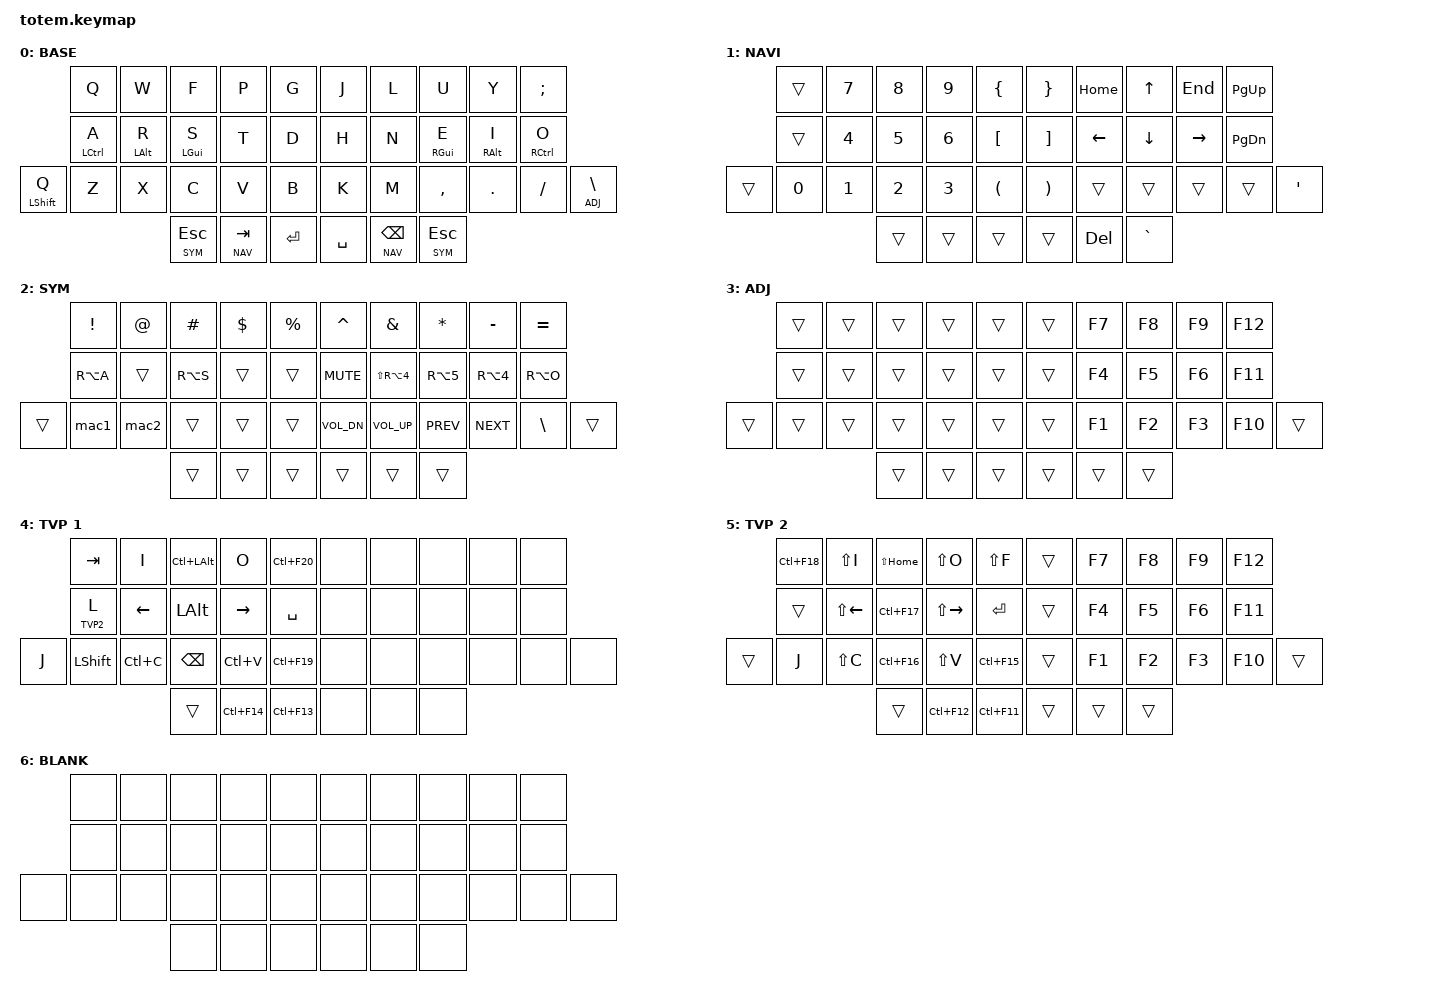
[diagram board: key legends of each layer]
//
//                                                        ▀▀▀▀▀     ▀▀▀▀▀          ▀▀█▀▀
//                                                        ▄▀▀▀▄  ▄  ▄▀▀▀▄  ▄  ▄▀▀▀▄  █  ▄▀▀▀▄
//                                                        █   █  █  █   █  █  █   █  █  █   █
//                                                         ▀▀▀   █   ▀▀▀   █   ▀▀▀   ▀   ▀▀▀
//                                                               █      ▄▄▄█▄▄▄    █   █  
//                                                               ▀      █  █  █     █▄█
//                                                             ▀▀▀▀▀    █  █  █      ▀
//                                                                      ▀  ▀  ▀
//
// ▄▄▄▄▄▄▄▄▄▄▄▄▄▄▄▄▄▄▄▄▄▄▄▄▄▄▄▄▄▄▄▄▄▄▄▄▄▄▄▄▄▄▄▄▄▄▄▄▄▄▄▄▄▄▄▄▄▄▄▄▄▄▄▄▄▄▄▄▄▄▄▄▄▄▄▄▄▄▄▄▄▄▄▄▄▄▄▄▄▄▄▄▄▄▄▄▄▄▄▄▄▄▄▄▄▄▄▄▄▄▄▄▄▄▄▄▄▄▄▄▄▄▄▄▄▄▄▄▄▄▄▄▄▄▄▄▄▄▄▄▄▄▄▄▄▄▄▄▄
       

#include <behaviors.dtsi>
#include <dt-bindings/zmk/keys.h>
#include <dt-bindings/zmk/bt.h>
#include <dt-bindings/zmk/outputs.h>

#define BASE 0
#define NAV  1
#define SYM  2
#define ADJ  3
#define TVP1 4
#define TVP2 5

&mt {
  quick-tap-ms = <100>;
  global-quick-tap;
  flavor = "tap-preferred";
  tapping-term-ms = <220>;
};

/ {
     combos {
            compatible = "zmk,combos";
            combo_esc {
                timeout-ms = <50>;
                key-positions = <0 1>;
                bindings = <&kp ESC>;
            };
            combo_tvp {
                timeout-ms = <100>;
                key-positions = <11 12 13>;
                bindings = <&tog TVP1>;
            };
    };

    macros {
        mac1: mac1 {
            label = "mac1";
            compatible = "zmk,behavior-macro";
            #binding-cells = <0>;
            bindings
                = <&macro_tap &kp L &kp E &kp A &kp N &kp G &kp H &kp O &kp U &kp N &kp AT &kp G &kp M &kp A &kp I &kp L &kp DOT &kp C &kp O &kp M>
                ;
        }; mac2: mac2 {
            label = "mac2";
            compatible = "zmk,behavior-macro";
            #binding-cells = <0>;
            bindings
                = <&macro_tap &kp H &kp A &kp N &kp N &kp A &kp H &kp LPAR &kp N2 &kp N8 &kp RPAR>
                , <&macro_press &kp LSHFT>
                , <&macro_tap &kp M>
                , <&macro_release &kp LSHFT>
                , <&macro_tap &kp A &kp Y>
                ;
        };
    };

        keymap {
                compatible = "zmk,keymap";
// ▄▄▄▄▄▄▄▄▄▄▄▄▄▄▄▄▄▄▄▄▄▄▄▄▄▄▄▄▄▄▄▄▄▄▄▄▄▄▄▄▄▄▄▄▄▄▄▄▄▄▄▄▄▄▄▄▄▄▄▄▄▄▄▄▄▄▄▄▄▄▄▄▄▄▄▄▄▄▄▄▄▄▄▄▄▄▄▄▄▄▄▄▄▄▄▄▄▄▄▄▄▄▄▄▄▄▄▄▄▄▄▄▄▄▄▄▄▄▄▄▄▄▄▄▄▄▄▄▄▄▄▄▄▄▄▄▄▄▄▄▄▄▄▄▄▄▄▄▄

                base_layer {
// ┏━━━━━━━━━━━━━━━━━━━━━━━━━━━━━━━━━━━━━━━┓
label= "BASE"                              ;
// ┗━━━━━━━━━━━━━━━━━━━━━━━━━━━━━━━━━━━━━━━┛
//             ┏━━━━━━━━━━━┳━━━━━━━━━━━┳━━━━━━━━━━━┳━━━━━━━━━━━┳━━━━━━━━━━━┓   ┏━━━━━━━━━━━┳━━━━━━━━━━━┳━━━━━━━━━━━┳━━━━━━━━━━━┳━━━━━━━━━━━┓
//             ┃     Q     ┃     W     ┃     F     ┃     P     ┃     G     ┃   ┃     J     ┃     L     ┃     U     ┃     Y     ┃     ;     ┃
//             ┣━━━━━━━━━━━╋━━━━━━━━━━━╋━━━━━━━━━━━╋━━━━━━━━━━━╋━━━━━━━━━━━┫   ┣━━━━━━━━━━━╋━━━━━━━━━━━╋━━━━━━━━━━━╋━━━━━━━━━━━╋━━━━━━━━━━━┫
//             ┃     A     ┃     R     ┃     S     ┃     T     ┃     D     ┃   ┃     H     ┃     N     ┃     E     ┃     I     ┃     O     ┃
// ┏━━━━━━━━━━━╋━━━━━━━━━━━╋━━━━━━━━━━━╋━━━━━━━━━━━╋━━━━━━━━━━━╋━━━━━━━━━━━┫   ┣━━━━━━━━━━━╋━━━━━━━━━━━╋━━━━━━━━━━━╋━━━━━━━━━━━╋━━━━━━━━━━━╋━━━━━━━━━━━┓
// ┃     Q     ┃     Z     ┃     X     ┃     C     ┃     V     ┃     B     ┃   ┃     K     ┃     M     ┃     ,     ┃     .     ┃     /     ┃     \     ┃
// ┗━━━━━━━━━━━┻━━━━━━━━━━━┻━━━━━━━━━━━╋━━━━━━━━━━━╋━━━━━━━━━━━╋━━━━━━━━━━━┫   ┣━━━━━━━━━━━╋━━━━━━━━━━━╋━━━━━━━━━━━╋━━━━━━━━━━━┻━━━━━━━━━━━┻━━━━━━━━━━━┛
//                                     ┃    ESC    ┃    TAB    ┃    ENT    ┃   ┃    SPC    ┃    BSPC   ┃    ESC    ┃
//                                     ┗━━━━━━━━━━━┻━━━━━━━━━━━┻━━━━━━━━━━━┛   ┗━━━━━━━━━━━┻━━━━━━━━━━━┻━━━━━━━━━━━┛
 bindings = <
// ╷           ╷           ╷           ╷           ╷           ╷           ╷   ╷           ╷           ╷           ╷           ╷           ╷           ╷

                &kp Q       &kp W       &kp F       &kp P       &kp G           &kp J       &kp L       &kp U       &kp Y       &kp SEMI
                &mt LCTRL A &mt LALT R  &mt LGUI S  &kp T       &kp D           &kp H       &kp N       &mt RGUI E  &mt RALT I  &mt RCTRL O
    &mt LSHFT Q &kp Z       &kp X       &kp C       &kp V       &kp B           &kp K       &kp M       &kp COMMA   &kp DOT     &kp FSLH    &lt ADJ BSLH
                                        &lt SYM ESC &lt NAV TAB &kp RET         &kp SPACE   &lt NAV BSPC &lt SYM ESC 
                        >;
                };

// ▄▄▄▄▄▄▄▄▄▄▄▄▄▄▄▄▄▄▄▄▄▄▄▄▄▄▄▄▄▄▄▄▄▄▄▄▄▄▄▄▄▄▄▄▄▄▄▄▄▄▄▄▄▄▄▄▄▄▄▄▄▄▄▄▄▄▄▄▄▄▄▄▄▄▄▄▄▄▄▄▄▄▄▄▄▄▄▄▄▄▄▄▄▄▄▄▄▄▄▄▄▄▄▄▄▄▄▄▄▄▄▄▄▄▄▄▄▄▄▄▄▄▄▄▄▄▄▄▄▄▄▄▄▄▄▄▄▄▄▄▄▄▄▄▄▄▄▄▄


                nav_layer {
// ┏━━━━━━━━━━━━━━━━━━━━━━━━━━━━━━━━━━━━━━━┓
label= "NAVI"                              ;
// ┗━━━━━━━━━━━━━━━━━━━━━━━━━━━━━━━━━━━━━━━┛
//             ┏━━━━━━━━━━━┳━━━━━━━━━━━┳━━━━━━━━━━━┳━━━━━━━━━━━┳━━━━━━━━━━━┓   ┏━━━━━━━━━━━┳━━━━━━━━━━━┳━━━━━━━━━━━┳━━━━━━━━━━━┳━━━━━━━━━━━┓
//             ┃           ┃     7     ┃     8     ┃     9     ┃     {     ┃   ┃     }     ┃   HOME    ┃    UP     ┃    END    ┃   PG UP   ┃
//             ┣━━━━━━━━━━━╋━━━━━━━━━━━╋━━━━━━━━━━━╋━━━━━━━━━━━╋━━━━━━━━━━━┫   ┣━━━━━━━━━━━╋━━━━━━━━━━━╋━━━━━━━━━━━╋━━━━━━━━━━━╋━━━━━━━━━━━┫
//             ┃           ┃     4     ┃     5     ┃     6     ┃     [     ┃   ┃     ]     ┃   LEFT    ┃    DOWN   ┃   RIGHT   ┃   PG DN   ┃
// ┏━━━━━━━━━━━╋━━━━━━━━━━━╋━━━━━━━━━━━╋━━━━━━━━━━━╋━━━━━━━━━━━╋━━━━━━━━━━━┫   ┣━━━━━━━━━━━╋━━━━━━━━━━━╋━━━━━━━━━━━╋━━━━━━━━━━━╋━━━━━━━━━━━╋━━━━━━━━━━━┓
// ┃           ┃     0     ┃     1     ┃     2     ┃     3     ┃     (     ┃   ┃     )     ┃           ┃           ┃           ┃           ┃     '     ┃
// ┗━━━━━━━━━━━┻━━━━━━━━━━━┻━━━━━━━━━━━╋━━━━━━━━━━━╋━━━━━━━━━━━╋━━━━━━━━━━━┫   ┣━━━━━━━━━━━╋━━━━━━━━━━━╋━━━━━━━━━━━╋━━━━━━━━━━━┻━━━━━━━━━━━┻━━━━━━━━━━━┛
//                                     ┃           ┃           ┃           ┃   ┃           ┃    DEL    ┃     `     ┃
//                                     ┗━━━━━━━━━━━┻━━━━━━━━━━━┻━━━━━━━━━━━┛   ┗━━━━━━━━━━━┻━━━━━━━━━━━┻━━━━━━━━━━━┛
 bindings = <
// ╷           ╷           ╷           ╷           ╷           ╷           ╷   ╷           ╷           ╷           ╷           ╷           ╷           ╷

                &trans      &kp N7      &kp N8      &kp N9      &kp LBRC        &kp RBRC    &kp HOME    &kp UP      &kp END     &kp PG_UP
                &trans      &kp N4      &kp N5      &kp N6      &kp LBKT        &kp RBKT    &kp LEFT    &kp DOWN    &kp RIGHT   &kp PG_DN
    &trans      &kp N0      &kp N1      &kp N2      &kp N3      &kp LPAR        &kp RPAR    &trans      &trans      &trans      &trans      &kp SQT      
                                        &trans      &trans      &trans          &trans      &kp DEL     &kp GRAVE      
                        >;
                };

// ▄▄▄▄▄▄▄▄▄▄▄▄▄▄▄▄▄▄▄▄▄▄▄▄▄▄▄▄▄▄▄▄▄▄▄▄▄▄▄▄▄▄▄▄▄▄▄▄▄▄▄▄▄▄▄▄▄▄▄▄▄▄▄▄▄▄▄▄▄▄▄▄▄▄▄▄▄▄▄▄▄▄▄▄▄▄▄▄▄▄▄▄▄▄▄▄▄▄▄▄▄▄▄▄▄▄▄▄▄▄▄▄▄▄▄▄▄▄▄▄▄▄▄▄▄▄▄▄▄▄▄▄▄▄▄▄▄▄▄▄▄▄▄▄▄▄▄▄▄


                sim_layer {
// ┏━━━━━━━━━━━━━━━━━━━━━━━━━━━━━━━━━━━━━━━┓
label= "SYM"                               ;
// ┗━━━━━━━━━━━━━━━━━━━━━━━━━━━━━━━━━━━━━━━┛
//             ┏━━━━━━━━━━━┳━━━━━━━━━━━┳━━━━━━━━━━━┳━━━━━━━━━━━┳━━━━━━━━━━━┓   ┏━━━━━━━━━━━┳━━━━━━━━━━━┳━━━━━━━━━━━┳━━━━━━━━━━━┳━━━━━━━━━━━┓
//             ┃     !     ┃     @     ┃     #     ┃     $     ┃     %     ┃   ┃     ˆ     ┃     &     ┃     *     ┃     -     ┃     =     ┃
//             ┣━━━━━━━━━━━╋━━━━━━━━━━━╋━━━━━━━━━━━╋━━━━━━━━━━━╋━━━━━━━━━━━┫   ┣━━━━━━━━━━━╋━━━━━━━━━━━╋━━━━━━━━━━━╋━━━━━━━━━━━╋━━━━━━━━━━━┫
//             ┃     Ä     ┃           ┃    SZ     ┃           ┃           ┃   ┃   MUTE    ┃   YEN     ┃   EURO    ┃  POUND    ┃     Ö     ┃
// ┏━━━━━━━━━━━╋━━━━━━━━━━━╋━━━━━━━━━━━╋━━━━━━━━━━━╋━━━━━━━━━━━╋━━━━━━━━━━━┫   ┣━━━━━━━━━━━╋━━━━━━━━━━━╋━━━━━━━━━━━╋━━━━━━━━━━━╋━━━━━━━━━━━╋━━━━━━━━━━━┓
// ┃           ┃   MAC1    ┃   MAC2    ┃           ┃           ┃           ┃   ┃   VOL-    ┃   VOL+    ┃   LAST    ┃   NEXT    ┃     \     ┃           ┃
// ┗━━━━━━━━━━━┻━━━━━━━━━━━┻━━━━━━━━━━━╋━━━━━━━━━━━╋━━━━━━━━━━━╋━━━━━━━━━━━┫   ┣━━━━━━━━━━━╋━━━━━━━━━━━╋━━━━━━━━━━━╋━━━━━━━━━━━┻━━━━━━━━━━━┻━━━━━━━━━━━┛
//                                     ┃           ┃           ┃ (&mo ADJ) ┃   ┃           ┃           ┃           ┃
//                                     ┗━━━━━━━━━━━┻━━━━━━━━━━━┻━━━━━━━━━━━┛   ┗━━━━━━━━━━━┻━━━━━━━━━━━┻━━━━━━━━━━━┛
 bindings = <
// ╷           ╷           ╷           ╷           ╷           ╷           ╷   ╷           ╷           ╷           ╷           ╷           ╷           ╷

                &kp EXCL    &kp AT      &kp HASH    &kp DLLR    &kp PRCNT       &kp CARET   &kp AMPS    &kp ASTRK   &kp MINUS     &kp EQUAL       
                &kp RA(A)   &trans      &kp RA(S)   &trans      &trans          &kp C_MUTE  &kp LS(RA(N4)) &kp RA(N5) &kp RA(N4)   &kp RA(O) 
    &trans      &mac1       &mac2       &trans      &trans      &trans          &kp C_VOL_DN &kp C_VOL_UP &kp C_PREV &kp C_NEXT  &kp BSLH   &trans         
                                        &trans      &trans      &trans          &trans      &trans      &trans      
                        >;
                };

// ▄▄▄▄▄▄▄▄▄▄▄▄▄▄▄▄▄▄▄▄▄▄▄▄▄▄▄▄▄▄▄▄▄▄▄▄▄▄▄▄▄▄▄▄▄▄▄▄▄▄▄▄▄▄▄▄▄▄▄▄▄▄▄▄▄▄▄▄▄▄▄▄▄▄▄▄▄▄▄▄▄▄▄▄▄▄▄▄▄▄▄▄▄▄▄▄▄▄▄▄▄▄▄▄▄▄▄▄▄▄▄▄▄▄▄▄▄▄▄▄▄▄▄▄▄▄▄▄▄▄▄▄▄▄▄▄▄▄▄▄▄▄▄▄▄▄▄▄▄


                adjust_layer {
// ┏━━━━━━━━━━━━━━━━━━━━━━━━━━━━━━━━━━━━━━━┓
label= "ADJ"                               ;
// ┗━━━━━━━━━━━━━━━━━━━━━━━━━━━━━━━━━━━━━━━┛
//             ┏━━━━━━━━━━━┳━━━━━━━━━━━┳━━━━━━━━━━━┳━━━━━━━━━━━┳━━━━━━━━━━━┓   ┏━━━━━━━━━━━┳━━━━━━━━━━━┳━━━━━━━━━━━┳━━━━━━━━━━━┳━━━━━━━━━━━┓
//             ┃           ┃           ┃           ┃           ┃           ┃   ┃           ┃    F7     ┃    F8     ┃    F9     ┃    F12    ┃
//             ┣━━━━━━━━━━━╋━━━━━━━━━━━╋━━━━━━━━━━━╋━━━━━━━━━━━╋━━━━━━━━━━━┫   ┣━━━━━━━━━━━╋━━━━━━━━━━━╋━━━━━━━━━━━╋━━━━━━━━━━━╋━━━━━━━━━━━┫
//             ┃           ┃           ┃           ┃           ┃           ┃   ┃           ┃    F4     ┃    F5     ┃    F6     ┃    F11    ┃
// ┏━━━━━━━━━━━╋━━━━━━━━━━━╋━━━━━━━━━━━╋━━━━━━━━━━━╋━━━━━━━━━━━╋━━━━━━━━━━━┫   ┣━━━━━━━━━━━╋━━━━━━━━━━━╋━━━━━━━━━━━╋━━━━━━━━━━━╋━━━━━━━━━━━╋━━━━━━━━━━━┓
// ┃           ┃           ┃           ┃           ┃           ┃           ┃   ┃           ┃    F1     ┃    F2     ┃    F3     ┃    F10    ┃           ┃
// ┗━━━━━━━━━━━┻━━━━━━━━━━━┻━━━━━━━━━━━╋━━━━━━━━━━━╋━━━━━━━━━━━╋━━━━━━━━━━━┫   ┣━━━━━━━━━━━╋━━━━━━━━━━━╋━━━━━━━━━━━╋━━━━━━━━━━━┻━━━━━━━━━━━┻━━━━━━━━━━━┛
//                                     ┃           ┃           ┃           ┃   ┃           ┃           ┃           ┃
//                                     ┗━━━━━━━━━━━┻━━━━━━━━━━━┻━━━━━━━━━━━┛   ┗━━━━━━━━━━━┻━━━━━━━━━━━┻━━━━━━━━━━━┛
 bindings = <
// ╷           ╷           ╷           ╷           ╷           ╷           ╷   ╷           ╷           ╷           ╷           ╷           ╷           ╷

                &trans      &trans      &trans      &trans      &trans          &trans      &kp F7      &kp F8      &kp F9      &kp F12
                &trans      &trans      &trans      &trans      &trans          &trans      &kp F4      &kp F5      &kp F6      &kp F11  
    &trans      &trans      &trans      &trans      &trans      &trans          &trans      &kp F1      &kp F2      &kp F3      &kp F10     &trans         
                                        &trans      &trans      &trans          &trans      &trans      &trans      
                        >;
                };

// ▄▄▄▄▄▄▄▄▄▄▄▄▄▄▄▄▄▄▄▄▄▄▄▄▄▄▄▄▄▄▄▄▄▄▄▄▄▄▄▄▄▄▄▄▄▄▄▄▄▄▄▄▄▄▄▄▄▄▄▄▄▄▄▄▄▄▄▄▄▄▄▄▄▄▄▄▄▄▄▄▄▄▄▄▄▄▄▄▄▄▄▄▄▄▄▄▄▄▄▄▄▄▄▄▄▄▄▄▄▄▄▄▄▄▄▄▄▄▄▄▄▄▄▄▄▄▄▄▄▄▄▄▄▄▄▄▄▄▄▄▄▄▄▄▄▄▄▄▄


                tvp1_layer {
// ┏━━━━━━━━━━━━━━━━━━━━━━━━━━━━━━━━━━━━━━━┓
label= "TVP 1"                             ;
// ┗━━━━━━━━━━━━━━━━━━━━━━━━━━━━━━━━━━━━━━━┛
//             ┏━━━━━━━━━━━┳━━━━━━━━━━━┳━━━━━━━━━━━┳━━━━━━━━━━━┳━━━━━━━━━━━┓   ┏━━━━━━━━━━━┳━━━━━━━━━━━┳━━━━━━━━━━━┳━━━━━━━━━━━┳━━━━━━━━━━━┓
//             ┃ NEXT FILE ┃ MARK IN   ┃ ROTATE    ┃ MARK OUT  ┃ SHOW SNAP ┃   ┃           ┃           ┃           ┃           ┃           ┃
//             ┣━━━━━━━━━━━╋━━━━━━━━━━━╋━━━━━━━━━━━╋━━━━━━━━━━━╋━━━━━━━━━━━┫   ┣━━━━━━━━━━━╋━━━━━━━━━━━╋━━━━━━━━━━━╋━━━━━━━━━━━╋━━━━━━━━━━━┫
//             ┃ TVP II    ┃ LEFT      ┃ PAN       ┃ RIGHT     ┃ PLAY/FLIP ┃   ┃           ┃           ┃           ┃           ┃           ┃
// ┏━━━━━━━━━━━╋━━━━━━━━━━━╋━━━━━━━━━━━╋━━━━━━━━━━━╋━━━━━━━━━━━╋━━━━━━━━━━━┫   ┣━━━━━━━━━━━╋━━━━━━━━━━━╋━━━━━━━━━━━╋━━━━━━━━━━━╋━━━━━━━━━━━╋━━━━━━━━━━━┓
// ┃ FULLSCR   ┃ SHIFT     ┃ COPY      ┃ DELETE    ┃ PASTE     ┃ IMG MARK  ┃   ┃           ┃           ┃           ┃           ┃           ┃           ┃
// ┗━━━━━━━━━━━┻━━━━━━━━━━━┻━━━━━━━━━━━╋━━━━━━━━━━━╋━━━━━━━━━━━╋━━━━━━━━━━━┫   ┣━━━━━━━━━━━╋━━━━━━━━━━━╋━━━━━━━━━━━╋━━━━━━━━━━━┻━━━━━━━━━━━┻━━━━━━━━━━━┛
//                                     ┃           ┃ UNDO/SAVE ┃  SEL/MOV  ┃   ┃           ┃           ┃           ┃
//                                     ┗━━━━━━━━━━━┻━━━━━━━━━━━┻━━━━━━━━━━━┛   ┗━━━━━━━━━━━┻━━━━━━━━━━━┻━━━━━━━━━━━┛
 bindings = <
// ╷           ╷           ╷           ╷           ╷           ╷           ╷   ╷           ╷           ╷           ╷           ╷           ╷           ╷

                &kp TAB     &kp I       &kp LC(LALT) &kp O      &kp LC(F20)     &none       &none       &none       &none       &none
                &lt TVP2 L  &kp LEFT    &kp LALT    &kp RIGHT   &kp SPACE       &none       &none       &none       &none       &none
    &kp J       &kp LSHFT   &kp LC(C)   &kp BSPC    &kp LC(V)   &kp LC(F19)     &none       &none       &none       &none       &none       &none        
                                        &trans      &kp LC(F14) &kp LC(F13)     &none       &none       &none    
                        >;
                };

// ▄▄▄▄▄▄▄▄▄▄▄▄▄▄▄▄▄▄▄▄▄▄▄▄▄▄▄▄▄▄▄▄▄▄▄▄▄▄▄▄▄▄▄▄▄▄▄▄▄▄▄▄▄▄▄▄▄▄▄▄▄▄▄▄▄▄▄▄▄▄▄▄▄▄▄▄▄▄▄▄▄▄▄▄▄▄▄▄▄▄▄▄▄▄▄▄▄▄▄▄▄▄▄▄▄▄▄▄▄▄▄▄▄▄▄▄▄▄▄▄▄▄▄▄▄▄▄▄▄▄▄▄▄▄▄▄▄▄▄▄▄▄▄▄▄▄▄▄▄


                tvp2_layer {
// ┏━━━━━━━━━━━━━━━━━━━━━━━━━━━━━━━━━━━━━━━┓
label= "TVP 2"                             ;
// ┗━━━━━━━━━━━━━━━━━━━━━━━━━━━━━━━━━━━━━━━┛
//             ┏━━━━━━━━━━━┳━━━━━━━━━━━┳━━━━━━━━━━━┳━━━━━━━━━━━┳━━━━━━━━━━━┓   ┏━━━━━━━━━━━┳━━━━━━━━━━━┳━━━━━━━━━━━┳━━━━━━━━━━━┳━━━━━━━━━━━┓
//             ┃ SOLO      ┃ TOGGLE IN ┃ RESET ROT ┃ TOGGLE OUT┃ TAKE SNAP ┃   ┃           ┃           ┃           ┃           ┃           ┃
//             ┣━━━━━━━━━━━╋━━━━━━━━━━━╋━━━━━━━━━━━╋━━━━━━━━━━━╋━━━━━━━━━━━┫   ┣━━━━━━━━━━━╋━━━━━━━━━━━╋━━━━━━━━━━━╋━━━━━━━━━━━╋━━━━━━━━━━━┫
//             ┃ ---       ┃ LAST KEY  ┃ NEW KEY   ┃ NEXT KEY  ┃ ENTER     ┃   ┃           ┃           ┃           ┃           ┃           ┃
// ┏━━━━━━━━━━━╋━━━━━━━━━━━╋━━━━━━━━━━━╋━━━━━━━━━━━╋━━━━━━━━━━━╋━━━━━━━━━━━┫   ┣━━━━━━━━━━━╋━━━━━━━━━━━╋━━━━━━━━━━━╋━━━━━━━━━━━╋━━━━━━━━━━━╋━━━━━━━━━━━┓
// ┃           ┃ FULLSCR   ┃ CPY2BRUSH ┃ DEL HEAD  ┃ PSTinPLACE┃ BOOK MARK ┃   ┃           ┃           ┃           ┃           ┃           ┃           ┃
// ┗━━━━━━━━━━━┻━━━━━━━━━━━┻━━━━━━━━━━━╋━━━━━━━━━━━╋━━━━━━━━━━━╋━━━━━━━━━━━┫   ┣━━━━━━━━━━━╋━━━━━━━━━━━╋━━━━━━━━━━━╋━━━━━━━━━━━┻━━━━━━━━━━━┻━━━━━━━━━━━┛
//                                     ┃           ┃ REDO/SAV1 ┃TRANS/WARP ┃   ┃           ┃           ┃           ┃
//                                     ┗━━━━━━━━━━━┻━━━━━━━━━━━┻━━━━━━━━━━━┛   ┗━━━━━━━━━━━┻━━━━━━━━━━━┻━━━━━━━━━━━┛
 bindings = <
// ╷           ╷           ╷           ╷           ╷           ╷           ╷   ╷           ╷           ╷           ╷           ╷           ╷           ╷

                &kp LC(F18) &kp LS(I)  &kp LS(HOME) &kp LS(O)   &kp LS(F)       &trans      &kp F7      &kp F8      &kp F9      &kp F12
                &trans      &kp LS(LEFT) &kp LC(F17) &kp LS(RIGHT) &kp RET      &trans      &kp F4      &kp F5      &kp F6      &kp F11  
    &trans      &kp J       &kp LS(C)   &kp LC(F16) &kp LS(V)   &kp LC(F15)     &trans      &kp F1      &kp F2      &kp F3      &kp F10     &trans         
                                        &trans      &kp LC(F12) &kp LC(F11)     &trans      &trans      &trans      
                        >;
                };

  // ▄▄▄▄▄▄▄▄▄▄▄▄▄▄▄▄▄▄▄▄▄▄▄▄▄▄▄▄▄▄▄▄▄▄▄▄▄▄▄▄▄▄▄▄▄▄▄▄▄▄▄▄▄▄▄▄▄▄▄▄▄▄▄▄▄▄▄▄▄▄▄▄▄▄▄▄▄▄▄▄▄▄▄▄▄▄▄▄▄▄▄▄▄▄▄▄▄▄▄▄▄▄▄▄▄▄▄▄▄▄▄▄▄▄▄▄▄▄▄▄▄▄▄▄▄▄▄▄▄▄▄▄▄▄▄▄▄▄▄▄▄▄▄▄▄▄▄▄▄
  
  
                  blnk_layer {
  // ┏━━━━━━━━━━━━━━━━━━━━━━━━━━━━━━━━━━━━━━━┓
  label= "BLANK"                             ;
  // ┗━━━━━━━━━━━━━━━━━━━━━━━━━━━━━━━━━━━━━━━┛
  //             ┏━━━━━━━━━━━┳━━━━━━━━━━━┳━━━━━━━━━━━┳━━━━━━━━━━━┳━━━━━━━━━━━┓   ┏━━━━━━━━━━━┳━━━━━━━━━━━┳━━━━━━━━━━━┳━━━━━━━━━━━┳━━━━━━━━━━━┓
  //             ┃           ┃           ┃           ┃           ┃           ┃   ┃           ┃           ┃           ┃           ┃           ┃
  //             ┣━━━━━━━━━━━╋━━━━━━━━━━━╋━━━━━━━━━━━╋━━━━━━━━━━━╋━━━━━━━━━━━┫   ┣━━━━━━━━━━━╋━━━━━━━━━━━╋━━━━━━━━━━━╋━━━━━━━━━━━╋━━━━━━━━━━━┫
  //             ┃           ┃           ┃           ┃           ┃           ┃   ┃           ┃           ┃           ┃           ┃           ┃
  // ┏━━━━━━━━━━━╋━━━━━━━━━━━╋━━━━━━━━━━━╋━━━━━━━━━━━╋━━━━━━━━━━━╋━━━━━━━━━━━┫   ┣━━━━━━━━━━━╋━━━━━━━━━━━╋━━━━━━━━━━━╋━━━━━━━━━━━╋━━━━━━━━━━━╋━━━━━━━━━━━┓
  // ┃           ┃           ┃           ┃           ┃           ┃           ┃   ┃           ┃           ┃           ┃           ┃           ┃           ┃
  // ┗━━━━━━━━━━━┻━━━━━━━━━━━┻━━━━━━━━━━━╋━━━━━━━━━━━╋━━━━━━━━━━━╋━━━━━━━━━━━┫   ┣━━━━━━━━━━━╋━━━━━━━━━━━╋━━━━━━━━━━━╋━━━━━━━━━━━┻━━━━━━━━━━━┻━━━━━━━━━━━┛
  //                                     ┃           ┃           ┃           ┃   ┃           ┃           ┃           ┃
  //                                     ┗━━━━━━━━━━━┻━━━━━━━━━━━┻━━━━━━━━━━━┛   ┗━━━━━━━━━━━┻━━━━━━━━━━━┻━━━━━━━━━━━┛
   bindings = <
  // ╷           ╷           ╷           ╷           ╷           ╷           ╷   ╷           ╷           ╷           ╷           ╷           ╷           ╷
  
                  &none       &none       &none       &none       &none           &none       &none       &none       &none       &none
                  &none       &none       &none       &none       &none           &none       &none       &none       &none       &none
      &none       &none       &none       &none       &none       &none           &none       &none       &none       &none       &none       &none        
                                          &none       &none       &none           &none       &none       &none    
                          >;
                  };
        };
};
